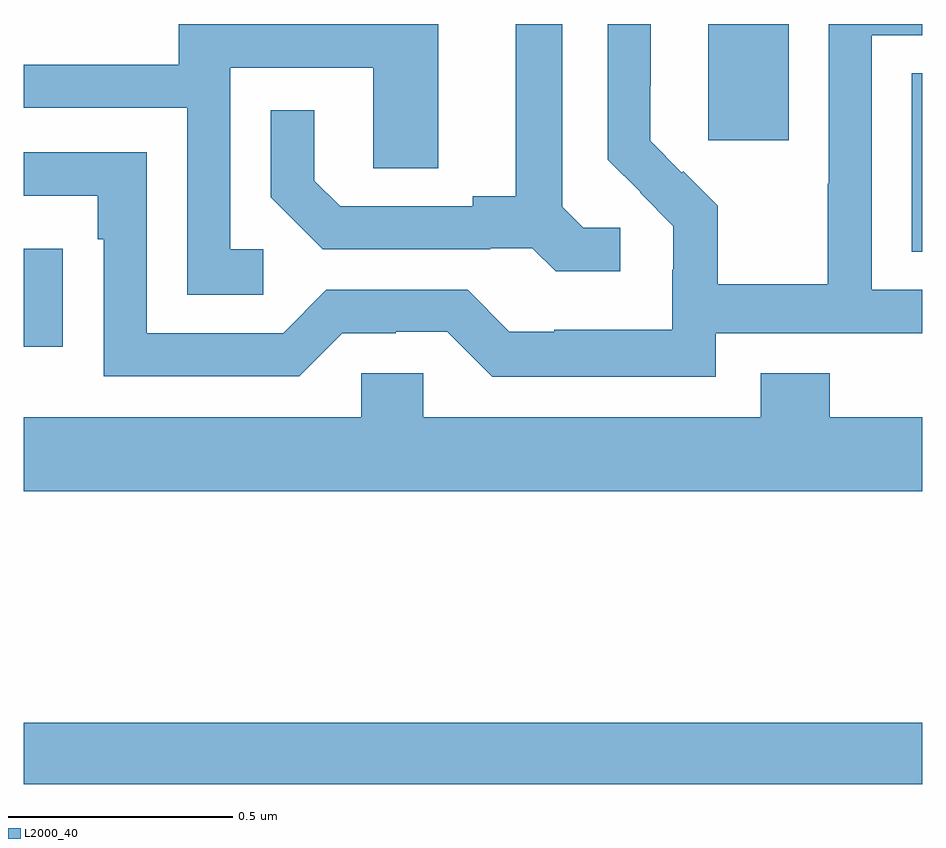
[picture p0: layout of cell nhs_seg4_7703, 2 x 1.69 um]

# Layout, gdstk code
import gdstk
lib = gdstk.Library(unit=1e-6, precision=1e-09)
def R(c, l, rs):  # rectangles x0, y0, x1, y1
    for r in rs: c.add(gdstk.rectangle(r[:2], r[2:], *l))
def P(c, l, *ps):  # polygons
    for p in ps: c.add(gdstk.Polygon(p, *l))
L2000_40 = (2000, 40)

nhs_seg4_7703 = lib.new_cell('nhs_seg4_7703')
R(nhs_seg4_7703, L2000_40, [(206,756.208,208,756.344), (206,757.182,206.087,757.4), (207.977,757.393,208,757.79), (207.524,757.641,207.703,757.9)])
P(nhs_seg4_7703, L2000_40, [(207.328,757.446),(207.246,757.446),(207.199,757.493),(207.199,757.9),(207.095,757.9),(207.095,757.517),(206.999,757.517),(206.999,757.494),(206.704,757.494),(206.647,757.551),(206.647,757.708),(206.55,757.708),(206.55,757.514),(206.666,757.398),(207.038,757.398),(207.038,757.401),(207.132,757.401),(207.184,757.349),(207.328,757.349)],
  [(206.533,757.398),(206.46,757.398),(206.46,757.803),(206.778,757.803),(206.778,757.579),(206.923,757.579),(206.923,757.899),(206.599,757.899),(206.599,757.9),(206.345,757.9),(206.345,757.809),(206,757.809),(206,757.713),(206.364,757.713),(206.364,757.297),(206.533,757.297)],
  [(207.54,757.212),(208,757.212),(208,757.308),(207.888,757.308),(207.888,757.875),(208,757.875),(208,757.9),(207.792,757.9),(207.792,757.544),(207.79,757.544),(207.79,757.321),(207.545,757.321),(207.545,757.495),(207.468,757.572),(207.465,757.569),(207.395,757.64),(207.395,757.762),(207.396,757.762),(207.396,757.9),(207.3,757.9),(207.3,757.598),(207.373,757.525),(207.372,757.524),(207.446,757.45),(207.446,757.353),(207.444,757.353),(207.444,757.219),(207.181,757.219),(207.181,757.215),(207.081,757.215),(206.988,757.308),(206.673,757.308),(206.577,757.212),(206.274,757.212),(206.274,757.614),(206,757.614),(206,757.518),(206.165,757.518),(206.165,757.421),(206.178,757.421),(206.178,757.116),(206.613,757.116),(206.709,757.212),(206.828,757.212),(206.828,757.215),(206.943,757.215),(207.043,757.115),(207.54,757.115)],
  [(208,757.024),(207.794,757.024),(207.794,757.123),(207.641,757.123),(207.641,757.024),(206.889,757.024),(206.889,757.122),(206.751,757.122),(206.751,757.024),(206,757.024),(206,756.86),(208,756.86)])

lib.write_gds('nhs_seg4_7703.gds')
